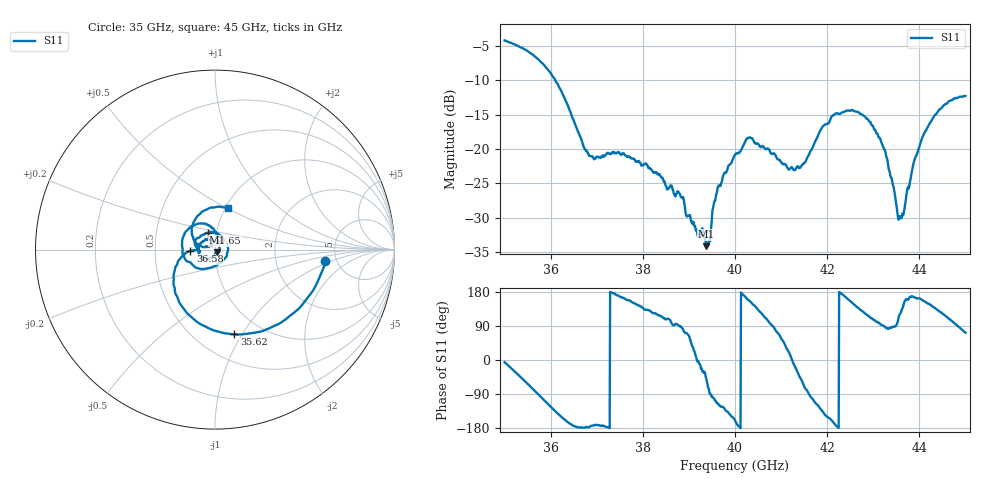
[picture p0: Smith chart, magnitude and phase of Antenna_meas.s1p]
!Agilent Technologies,E8361A,US43140881,A.06.04.32
!Agilent E8361A: A.06.04.32
!Date: Friday, January 01, 1988 02:57:17
!Correction: S11(Full 1 Port(1))
!S1P File: Measurement: S11:
# Hz S  RI  R 50
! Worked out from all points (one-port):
!   1001 points, 35 GHz to 45 GHz, reference 50 ohm
!   lowest |S11| = -34.2 dB at 39.38 GHz (marker M1), VSWR 1.04, Z = 51.2 - j1.58 ohm
!   |S11| at or under -10 dB: 36.1 GHz to end of sweep
!   S11 on the Smith chart (normalised r, x): 35 GHz: 4.06, -0.82; 35.62 GHz: 0.75, -0.93; 36.58 GHz: 0.76, -0.01; 40.65 GHz: 0.91, +0.17; 45 GHz: 1.03, +0.51
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3.5e10  0.6151 -0.062
3.535e10  0.3869 -0.3932
3.562e10  0.1078 -0.4717
3.595e10  -0.1723 -0.3332
3.625e10  -0.2252 -0.1206
3.658e10  -0.1373 -0.00653
3.69e10  -0.088 -0.0107
3.75e10  -0.0902 0.0198
3.875e10  -0.00336 0.0491
3.938e10  0.012 -0.0154
3.944e10  0.0033 -0.0213
3.962e10  -0.0206 -0.0477
4e10  -0.0848 -0.0326
4.03e10  -0.1113 0.0464
4.065e10  -0.038 0.0929
4.125e10  0.0724 -0.00485
4.151e10  0.0246 -0.0754
4.185e10  -0.0847 -0.1067
4.25e10  -0.1728 0.0809
4.285e10  -0.0834 0.1446
4.314e10  -0.0137 0.1198
4.328e10  0.00839 0.0886
4.357e10  -0.0158 0.0278
4.365e10  -0.026 0.02
4.375e10  -0.0492 0.0187
4.392e10  -0.0841 0.0243
4.427e10  -0.1296 0.0983
4.5e10  0.074 0.2318
